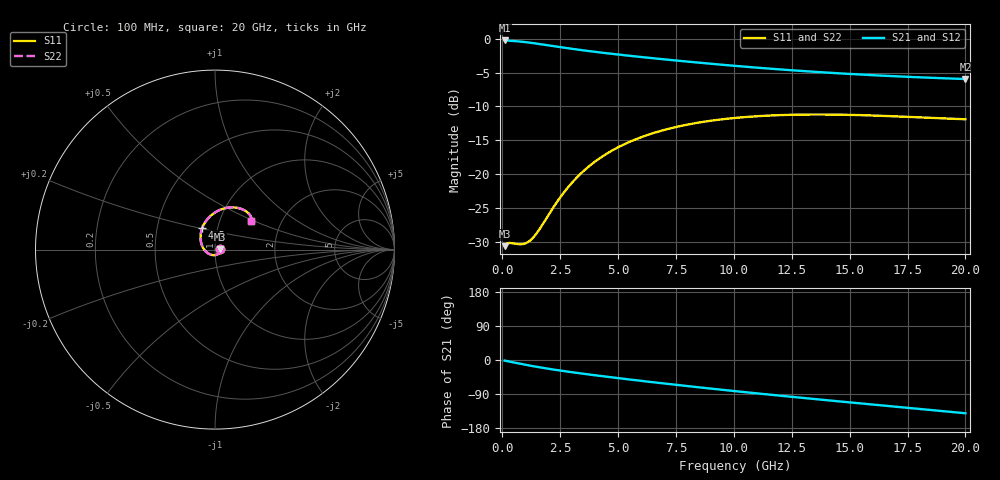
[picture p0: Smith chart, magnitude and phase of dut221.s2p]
! Created with skrf 1.9.0 (http://scikit-rf.org).
# GHz S RI R 50.0
!freq ReS11 ImS11 ReS21 ImS21 ReS12 ImS12 ReS22 ImS22
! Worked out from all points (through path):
!   200 points, 100 MHz to 20 GHz, reference 50 ohm
!   highest |S21| = -0.26 dB at 100 MHz (marker M1); lowest = -6.0 dB at 20 GHz (marker M2)
!   group delay of S21, straight-line fit = 18.4 ps
!   lowest |S11| = -30.7 dB at 100 MHz (marker M3), VSWR 1.06, Z = 53 + j0.0909 ohm
!   |S11| at or under -10 dB: start of sweep to end of sweep
!   |S22| runs from -30.7 to -11.2 dB; largest |S21 - S12| = 2e-15
!   S11 on the Smith chart (normalised r, x): 100 MHz: 1.06, +0.00; 4.5 GHz: 0.84, +0.21; 20 GHz: 1.40, +0.48
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0.1  0.0293 0.000856  0.9699 -0.0271  0.9699 -0.0271  0.0293 0.000856
0.2  0.0303 -0.00539  0.9663 -0.0469  0.9663 -0.0469  0.0303 -0.00539
0.3  0.0291 -0.0104  0.9632 -0.0676  0.9632 -0.0676  0.0291 -0.0104
0.8  0.0128 -0.0274  0.9362 -0.1683  0.9362 -0.1683  0.0128 -0.0274
1  0.00324 -0.0305  0.9204 -0.2051  0.9204 -0.2051  0.00324 -0.0305
1.3  -0.0126 -0.0309  0.893 -0.2556  0.893 -0.2556  -0.0126 -0.0309
1.5  -0.0234 -0.0284  0.873 -0.2861  0.873 -0.2861  -0.0234 -0.0284
1.9  -0.0435 -0.0175  0.8307 -0.3397  0.8307 -0.3397  -0.0435 -0.0175
2.6  -0.0692 0.015  0.7549 -0.4144  0.7549 -0.4144  -0.0692 0.015
3  -0.0772 0.0376  0.7124 -0.4488  0.7124 -0.4488  -0.0772 0.0376
3.5  -0.0807 0.0669  0.6606 -0.4855  0.6606 -0.4855  -0.0807 0.0669
4  -0.0779 0.0956  0.6101 -0.5167  0.6101 -0.5167  -0.0779 0.0956
4.5  -0.0702 0.1223  0.5609 -0.5433  0.5609 -0.5433  -0.0702 0.1223
5.6  -0.041 0.171  0.456 -0.588  0.456 -0.588  -0.041 0.171
6.8  0.000756 0.2072  0.3468 -0.618  0.3468 -0.618  0.000756 0.2072
8.3  0.0552 0.2304  0.2193 -0.6325  0.2193 -0.6325  0.0552 0.2304
10.1  0.1128 0.2344  0.0821 -0.6232  0.0821 -0.6232  0.1128 0.2344
11.7  0.152 0.2246  -0.0247 -0.5973  -0.0247 -0.5973  0.152 0.2246
13.4  0.1805 0.2077  -0.1236 -0.5567  -0.1236 -0.5567  0.1805 0.2077
15  0.1962 0.1906  -0.2043 -0.5093  -0.2043 -0.5093  0.1962 0.1906
16.7  0.203 0.1747  -0.2781 -0.4513  -0.2781 -0.4513  0.203 0.1747
20  0.1978 0.1588  -0.3887 -0.3198  -0.3887 -0.3198  0.1978 0.1588
